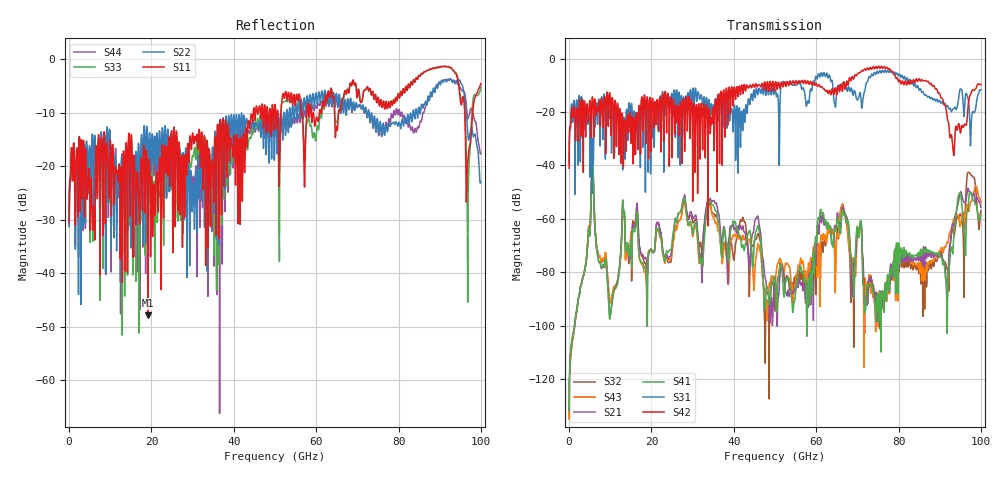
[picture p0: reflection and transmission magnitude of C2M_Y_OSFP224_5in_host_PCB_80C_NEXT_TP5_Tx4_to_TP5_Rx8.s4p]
# GHz S RI R 45
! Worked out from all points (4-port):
!   4000 points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, 25 MHz to 100 GHz, reference 45 ohm
!   strongest paths, dB at 25 MHz, 25.02 GHz, 50.02 GHz, 75.03 GHz, 100 GHz:
!     S42: -41.1, -33.3, -9.8, -3.2, -9.8
!     S31: -39.4, -13.8, -11.5, -5.4, -11.7
!     S41: -131.9, -68.8, -82.6, -92.3, -58.6
!     S21: -131.8, -69.5, -84.1, -93.7, -55.7
!     S43: -135.0, -71.9, -83.6, -94.7, -53.6
!     S32: -134.5, -72.2, -94.6, -91.5, -56.9
!   lowest |S11| = -47.9 dB at 19.12 GHz (marker M1), VSWR 1.01, Z = 45.3 + j0.14 ohm
!   |S11| at or under -10 dB: start of sweep to 44.74 GHz; 59.32 GHz to 60.78 GHz (1.455 GHz wide, 2.42 % of centre); 96.08 GHz to 98.01 GHz (1.929 GHz wide, 1.99 % of centre)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
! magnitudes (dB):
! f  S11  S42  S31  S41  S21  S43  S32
! 25 MHz  -30.5  -41.1  -39.4  -131.9  -131.8  -135.0  -134.5
! 5.7 GHz  -31.1  -14.3  -30.6  -40.5  -40.6  -40.5  -40.5
! 7.65 GHz  -18.7  -18.7  -22.1  -76.9  -77.1  -74.7  -75.0
! 19.12 GHz  -47.9  -16.5  -23.8  -79.3  -77.7  -76.5  -76.2
! 86.08 GHz  -2.5  -8.3  -12.8  -72.7  -70.4  -82.8  -75.7
! 93.17 GHz  -2.0  -33.0  -18.9  -73.0  -61.8  -62.0  -63.3
! 100 GHz  -4.6  -9.8  -11.7  -58.6  -55.7  -53.6  -56.9
